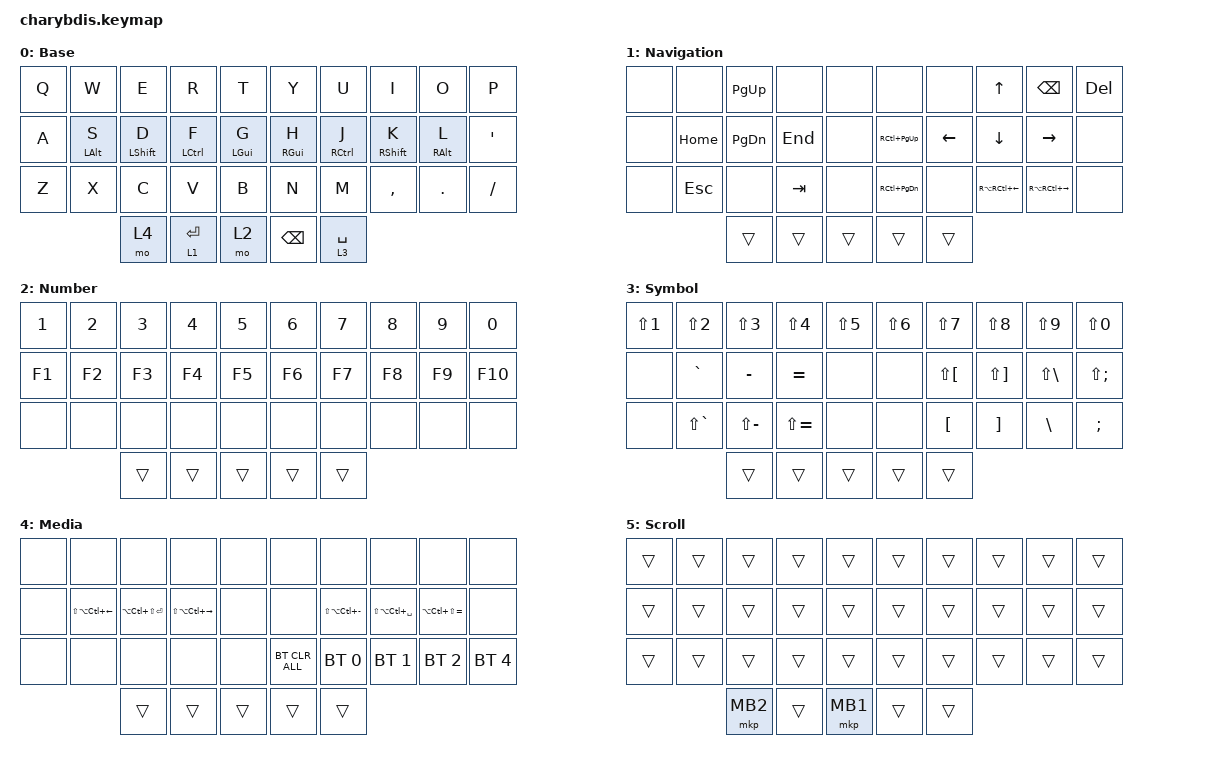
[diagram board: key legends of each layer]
#include "keys_de_swiss.h"
#include <dt-bindings/zmk/mouse.h>
#include <behaviors/mouse_keys.dtsi>
#include <behaviors.dtsi>
#include <dt-bindings/zmk/bt.h>
#include <dt-bindings/zmk/ext_power.h>
#include <dt-bindings/zmk/keys.h>
#include <dt-bindings/zmk/pointing.h>

// / {
//     chosen { zmk,matrix_transform = &default_transform; };
// };

/ {
    /* input config for mouse move mode */

    trackball_listener {
        compatible = "zmk,input-behavior-listener";
        device = <&trackball>;
        layers = <0 3 4 5>;
        evt-type = <INPUT_EV_REL>;
        x-input-code = <INPUT_REL_X>;
        y-input-code = <INPUT_REL_Y>;
        scale-multiplier = <1>;
        scale-divisor = <2>;

        bindings = <&ib_toggle_layer 5>;
    };

    /* input config for snipe mode */

    trackball_snipe_listener {
        compatible = "zmk,input-behavior-listener";
        device = <&trackball>;
        layers = <2>;
        evt-type = <INPUT_EV_REL>;
        x-input-code = <INPUT_REL_X>;
        y-input-code = <INPUT_REL_Y>;
        scale-multiplier = <1>;
        scale-divisor = <4>;
    };

    /* input config for mouse scroll mode */

    trackball_scroll_listener {
        compatible = "zmk,input-behavior-listener";
        device = <&trackball>;
        layers = <1>;
        evt-type = <INPUT_EV_REL>;
        x-input-code = <INPUT_REL_MISC>;
        y-input-code = <INPUT_REL_WHEEL>;
        y-invert;
        bindings = <&ib_wheel_scaler 1 14>;
    };

    /* define a resolution down scaler only for INPUT_REL_WHEEL */

    ib_wheel_scaler: ib_wheel_scaler {
        compatible = "zmk,input-behavior-scaler";
        #binding-cells = <2>;
        evt-type = <INPUT_EV_REL>;
        input-code = <INPUT_REL_WHEEL>;
    };

    /* adjust cooldown waiting period for mouse key layer after activated */

    ib_toggle_layer: ib_toggle_layer {
        compatible = "zmk,input-behavior-tog-layer";
        #binding-cells = <1>;
        time-to-live-ms = <1750>;
    };

    // #define QUERTZ    0
    // #define NUMBERS   1
    // #define NAV-FUN   2
    // #define MAC       3
    // #define MAC-NUM   4
    // #define MAC-NAV   5
    // #define GAME      6
    // #define GAME-NUM  7
    // #define GAME-NAV  8
    // #define SCROLL    9
    // #define SNIPER   10
    // #define FN       11

    combos {
        compatible = "zmk,combos";

        left_bootloader {
            bindings = <&bootloader>;
            key-positions = <0 20>;
        };

        right_bootloader {
            bindings = <&bootloader>;
            key-positions = <9 29>;
        };
    };

    behaviors {
        hml: homewrow_mods_left {
            compatible = "zmk,behavior-hold-tap";
            label = "HOMEROW_MODS_LEFT_HAND";
            bindings = <&kp>, <&kp>;

            #binding-cells = <2>;
            tapping-term-ms = <250>;
            hold-trigger-key-positions = <5 6 7 8 9 15 16 17 18 19 25 26 27 28 29 33 34>;
            flavor = "balanced";
            quick-tap-ms = <150>;
            require-prior-idle-ms = <50>;
            hold-trigger-on-release;
        };

        hmr: homewrow_mods_right {
            compatible = "zmk,behavior-hold-tap";
            label = "HOMEROW_MODS_RIGHT_HAND";
            bindings = <&kp>, <&kp>;

            #binding-cells = <2>;
            tapping-term-ms = <250>;
            hold-trigger-key-positions = <0 1 2 3 4 10 11 12 13 14 20 21 22 23 24 30 31 32>;
            flavor = "balanced";
            quick-tap-ms = <150>;
            require-prior-idle-ms = <50>;
            hold-trigger-on-release;
        };
    };

    keymap {
        compatible = "zmk,keymap";

        Base {
            label = "Base";
            bindings = <
  &kp Q  &kp W        &kp E          &kp R         &kp T              &kp Y      &kp U          &kp I         &kp O        &kp P
  &kp A  &hml LALT S  &hml LSHIFT D  &hml LCTRL F  &hml LGUI G    &hmr RGUI H    &hmr RCTRL J   &hmr RSHIFT K  &hmr RALT L  &kp APOSTROPHE
  &kp Z  &kp X      &kp C        &kp V       &kp B        &kp N        &kp M        &kp COMMA    &kp DOT    &kp SLASH
                      &mo 4       &lt 1 ENTER     &mo 2       &kp BACKSPACE  &lt 3 SPACE

            >;
        };

        Navigation {
            label = "Navigation";
            bindings = <
  &none  &none       &kp PAGE_UP    &none    &none    &none              &none     &kp UP_ARROW      &kp BACKSPACE      &kp DELETE
  &none  &kp HOME    &kp PAGE_DOWN  &kp END  &none    &kp RC(PAGE_UP)    &kp LEFT  &kp DOWN          &kp RIGHT          &none
  &none  &kp ESCAPE  &none          &kp TAB  &none    &kp RC(PAGE_DOWN)  &none     &kp RA(RC(LEFT))  &kp RA(RC(RIGHT))  &none
                     &trans         &trans   &trans   &trans             &trans
            >;
        };

        Number {
            label = "Number";
            bindings = <
  &kp N1  &kp N2  &kp N3  &kp N4  &kp N5    &kp N6  &kp N7  &kp N8  &kp N9  &kp N0
  &kp F1  &kp F2  &kp F3  &kp F4  &kp F5    &kp F6  &kp F7  &kp F8  &kp F9  &kp F10
  &none   &none   &none   &none   &none     &none   &none   &none    &none     &none
                  &trans  &trans  &trans    &trans  &trans
            >;
        };

        Symbol {
            bindings = <
  &kp LS(N1)  &kp LS(N2)  &kp LS(N3)  &kp LS(N4)  &kp LS(N5)   &kp LS(N6)  &kp LS(N7)  &kp LS(N8)  &kp LS(N9)  &kp LS(N0)
  &none  &kp GRAVE  &kp MINUS  &kp EQUAL  &none    &none  &kp LS(LEFT_BRACKET)  &kp LS(RIGHT_BRACKET)  &kp LS(BACKSLASH)  &kp LS(SEMICOLON)
  &none  &kp LS(GRAVE)  &kp LS(MINUS)  &kp LS(EQUAL)     &none    &none  &kp LEFT_BRACKET  &kp RIGHT_BRACKET  &kp BACKSLASH  &kp SEMICOLON
                              &trans        &trans        &trans    &trans        &trans
            >;

            label = "Symbol";
        };

        Media {
            label = "Media";
            bindings = <
  &none  &none    &none    &none     &none    &none  &none    &none    &none     &none
  &none   &kp LS(LA(LC(LEFT)))   &kp LA(LC(LS(ENTER)))  &kp LS(LA(LC(RIGHT)))  &none     &none           &kp LS(LA(LC(MINUS)))  &kp LS(LA(LC(SPACE)))  &kp LA(LC(LS(EQUAL)))      &none
  &none   &none  &none  &none  &none     &bt BT_CLR_ALL  &bt BT_SEL 0  &bt BT_SEL 1  &bt BT_SEL 2  &bt BT_SEL 4
                                 &trans                 &trans                 &trans    &trans          &trans
            >;
        };

        Scroll {
            bindings = <
  &trans  &trans    &trans    &trans     &trans    &trans  &trans    &trans    &trans     &trans
  &trans  &trans &trans &trans  &trans    &trans  &trans &trans &trans  &trans
  &trans  &trans    &trans    &trans     &trans    &trans  &trans    &trans    &trans     &trans
                  &mkp MB2 &trans &mkp MB1    &trans  &trans
            >;

            label = "Scroll";
        };

    };
};
